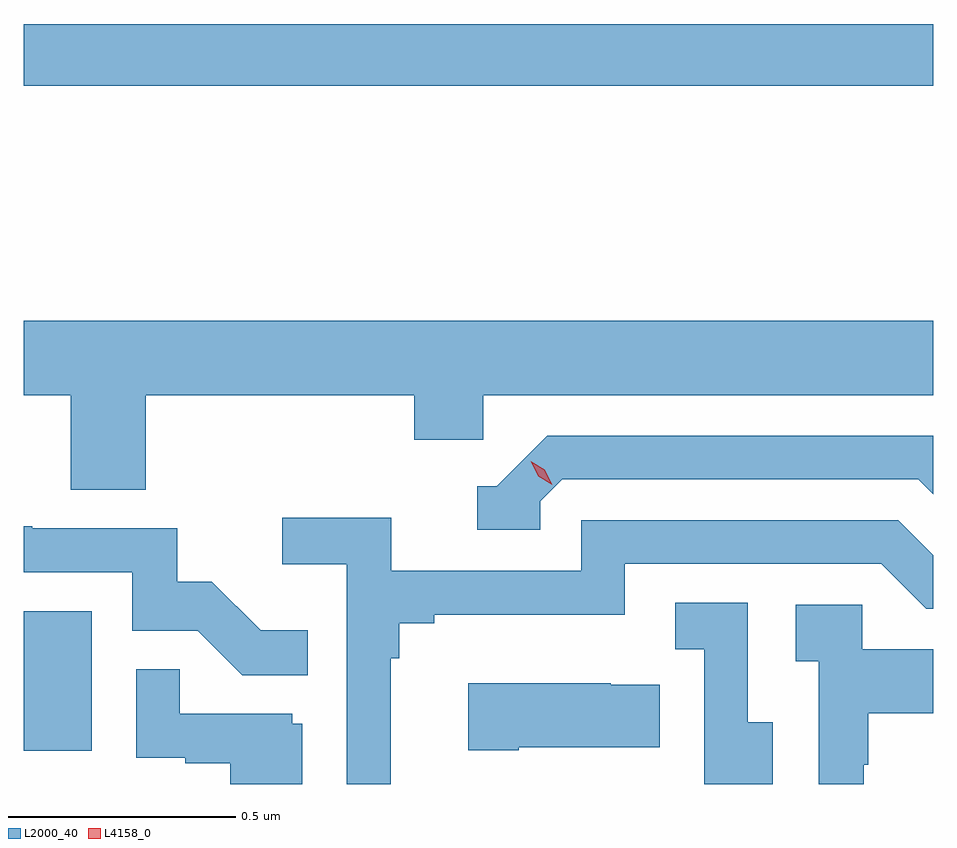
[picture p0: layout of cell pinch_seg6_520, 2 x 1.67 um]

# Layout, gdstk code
import gdstk
lib = gdstk.Library(unit=1e-6, precision=1e-09)
def R(c, l, rs):  # rectangles x0, y0, x1, y1
    for r in rs: c.add(gdstk.rectangle(r[:2], r[2:], *l))
def P(c, l, *ps):  # polygons
    for p in ps: c.add(gdstk.Polygon(p, *l))
L2000_40 = (2000, 40)
L4158_0 = (4158, 0)

pinch_seg6_520 = lib.new_cell('pinch_seg6_520')
R(pinch_seg6_520, L2000_40, [(854.866,931.902,855.016,932.209), (854.866,933.364,856.866,933.5)])
P(pinch_seg6_520, L2000_40, [(855.134,932.684),(855.725,932.684),(855.725,932.586),(855.876,932.586),(855.876,932.684),(856.866,932.684),(856.866,932.848),(854.866,932.848),(854.866,932.684),(854.969,932.684),(854.969,932.476),(855.134,932.476)],
  [(856.002,932.451),(856.05,932.499),(856.833,932.499),(856.866,932.466),(856.866,932.595),(856.017,932.595),(855.906,932.484),(855.863,932.484),(855.863,932.388),(856.002,932.388)],
  [(855.673,932.105),(855.692,932.105),(855.692,932.182),(855.769,932.182),(855.769,932.201),(856.188,932.201),(856.188,932.313),(856.752,932.313),(856.851,932.214),(856.866,932.214),(856.866,932.332),(856.789,932.409),(856.092,932.409),(856.092,932.298),(855.674,932.298),(855.674,932.414),(855.435,932.414),(855.435,932.312),(855.576,932.312),(855.576,931.829),(855.673,931.829)],
  [(855.491,932.167),(855.387,932.167),(855.28,932.274),(855.204,932.274),(855.204,932.391),(854.885,932.391),(854.885,932.396),(854.866,932.396),(854.866,932.295),(855.105,932.295),(855.105,932.166),(855.249,932.166),(855.347,932.068),(855.491,932.068)],
  [(856.513,931.965),(856.458,931.965),(856.458,932.228),(856.299,932.228),(856.299,932.125),(856.362,932.125),(856.362,931.829),(856.513,931.829)],
  [(856.713,931.871),(856.723,931.871),(856.723,931.985),(856.866,931.985),(856.866,932.125),(856.71,932.125),(856.71,932.223),(856.563,932.223),(856.563,932.099),(856.614,932.099),(856.614,931.829),(856.713,931.829)],
  [(855.478,931.962),(855.456,931.962),(855.456,931.983),(855.209,931.983),(855.209,932.081),(855.114,932.081),(855.114,931.887),(855.221,931.887),(855.221,931.875),(855.32,931.875),(855.32,931.829),(855.478,931.829)],
  [(855.955,931.91),(856.265,931.91),(856.265,932.047),(856.157,932.047),(856.157,932.05),(855.843,932.05),(855.843,931.903),(855.955,931.903)])
P(pinch_seg6_520, L4158_0, [(856.028,932.487),(855.997,932.506),(855.981,932.539),(855.981,932.539),(855.981,932.539),(856.012,932.52),(856.028,932.487),(856.028,932.487)])

lib.write_gds('pinch_seg6_520.gds')
